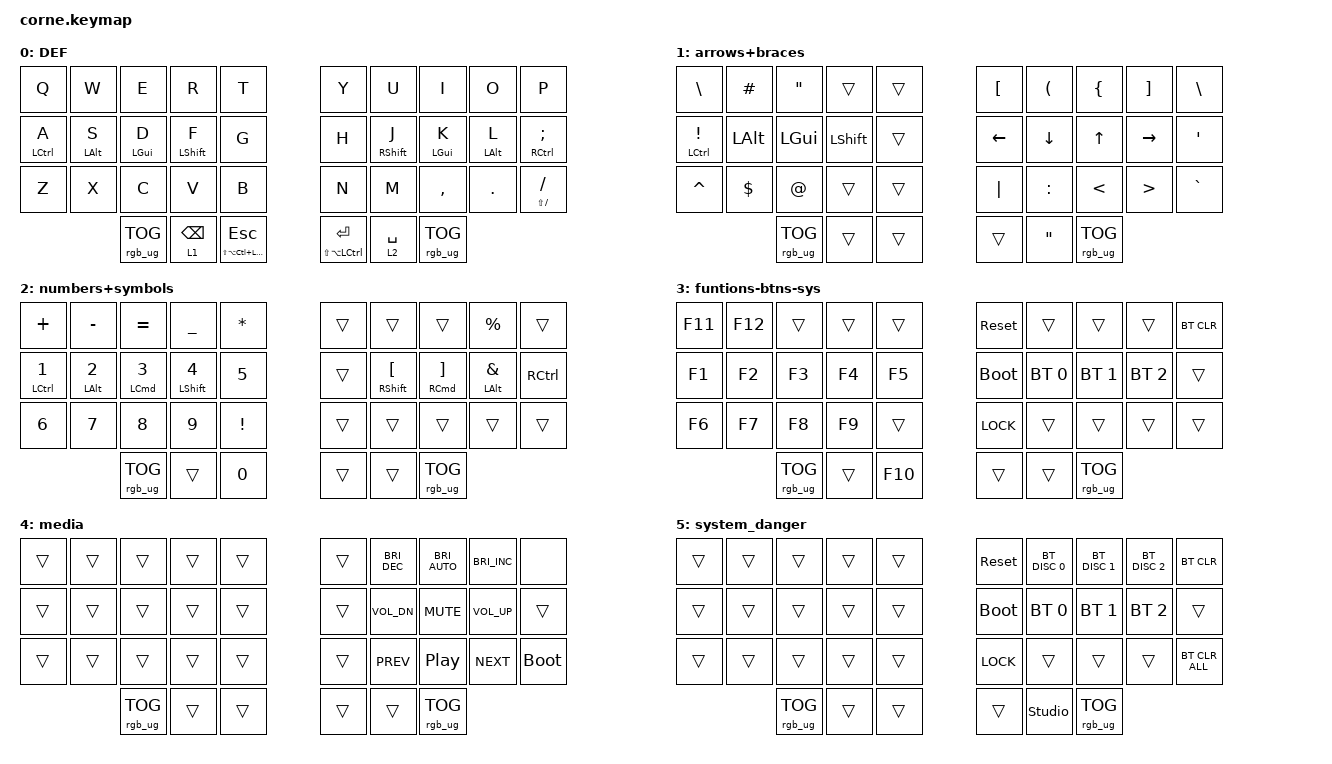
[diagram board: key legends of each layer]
/*
 * Copyright (c) 2020 The ZMK Contributors
 *
 * SPDX-License-Identifier: MIT
 */

#include <behaviors.dtsi>
#include <dt-bindings/zmk/bt.h>
#include <dt-bindings/zmk/keys.h>
#include <dt-bindings/zmk/rgb.h>

#define DEFAULT_L 0

&lt {
    quick-tap-ms = <200>;
    tapping-term-ms = <150>;
    flavor = "balanced";
};

&mt { quick-tap-ms = <200>; };

/ {
    chosen { zmk,matrix_transform = &five_column_transform; };

    behaviors {
        thumb_ht: thumb_hold_tap {
            compatible = "zmk,behavior-hold-tap";
            label = "HOMEROW_MODS";
            #binding-cells = <2>;
            tapping-term-ms = <150>;
            flavor = "balanced";
            bindings = <&kp>, <&kp>;

            quick-tap-ms = <180>;
        };

        hml: left_homerow_mods {
            compatible = "zmk,behavior-hold-tap";
            #binding-cells = <2>;
            flavor = "balanced";
            tapping-term-ms = <220>;
            quick-tap-ms = <175>;
            require-prior-idle-ms = <125>;
            bindings = <&kp>, <&kp>;

            hold-trigger-key-positions = <5 6 7 8 9 15 16 17 18 19 25 26 27 28 29 30 31 32 33>;
            hold-trigger-on-release;
        };

        hmr: right_homerow_mods {
            compatible = "zmk,behavior-hold-tap";
            #binding-cells = <2>;
            flavor = "balanced";
            tapping-term-ms = <220>;
            quick-tap-ms = <175>;
            require-prior-idle-ms = <125>;
            bindings = <&kp>, <&kp>;

            hold-trigger-key-positions = <0 1 2 3 4 10 11 12 13 14 20 21 22 23 24 30 31 32 33>;
            hold-trigger-on-release;
        };

        as: auto_shift {
            compatible = "zmk,behavior-hold-tap";
            label = "AUTO_SHIFT";
            bindings = <&kp>, <&kp>;

            #binding-cells = <2>;
            flavor = "tap-preferred";
            tapping-term-ms = <250>;
            require-prior-idle-ms = <100>;
        };
    };

    macros {
        thin_arrow: thin_arrow {
            compatible = "zmk,behavior-macro";
            #binding-cells = <0>;
            bindings = <&kp MINUS &kp GT>;
            label = "THIN_ARROW";
        };

        thick_arrow: thick_arrow {
            compatible = "zmk,behavior-macro";
            #binding-cells = <0>;
            bindings = <&kp EQUAL &kp GREATER_THAN>;
            label = "THICK_ARROW";
        };

        rs_lambda_macro: rs_lambda_macro {
            compatible = "zmk,behavior-macro";
            #binding-cells = <0>;
            bindings = <&kp PIPE &kp PIPE &kp LEFT>;
            label = "RS_LAMBDA_MACRO";
        };
    };

    combos {
        compatible = "zmk,combos";

        arr-right-paren {
            bindings = <&kp RIGHT_PARENTHESIS>;
            key-positions = <6 7>;
            layers = <1>;
        };

        arr-right-curly {
            bindings = <&kp RIGHT_BRACE>;
            key-positions = <7 8>;
            layers = <1>;
        };

        arr-right-square-bracket {
            bindings = <&kp RIGHT_BRACKET>;
            key-positions = <5 6>;
            layers = <1>;
        };

        def-mcommadot-to-fkeys+s+space {
            bindings = <&lt 3 LS(LA(LC(LG(SPACE))))>;
            key-positions = <27 26 28>;
            layers = <0>;
        };

        def-xcv-to-media+del {
            bindings = <&lt 4 DELETE>;
            key-positions = <21 22 23>;
            layers = <0>;
        };

        def-wer-to-system-danger+caps {
            bindings = <&lt 5 CAPSLOCK>;
            key-positions = <1 2 3>;
            layers = <0>;
        };

        num-thin-arr-combo {
            bindings = <&thin_arrow>;
            key-positions = <1 2>;
            layers = <2>;
        };

        num-thick-arrow-combo {
            bindings = <&thick_arrow>;
            key-positions = <2 3>;
            layers = <2>;
        };

        def-ui-to-tab {
            bindings = <&kp TAB>;
            key-positions = <6 7>;
            layers = <0>;
        };

        arr-rust-lambda {
            bindings = <&rs_lambda_macro>;
            key-positions = <25 26>;
            layers = <1>;
        };
    };

    keymap {
        compatible = "zmk,keymap";

        default_layer {
            label = "DEF";
            bindings = <
  &kp Q         &kp W            &kp E            &kp R              &kp T                                    &kp Y                                 &kp U               &kp I            &kp O            &kp P
  &hml LCTRL A  &hml LEFT_ALT S  &hml LEFT_GUI D  &hml LEFT_SHIFT F  &kp G                                    &kp H                                 &hmr RIGHT_SHIFT J  &hmr LEFT_GUI K  &hmr LEFT_ALT L  &hmr RIGHT_CONTROL SEMICOLON
  &kp Z         &kp X            &kp C            &kp V              &kp B                                    &kp N                                 &kp M               &kp COMMA        &kp DOT          &as LS(SLASH) SLASH
                                 &rgb_ug RGB_TOG  &lt 1 BACKSPACE    &thumb_ht LS(LA(LC(LEFT_GUI))) ESCAPE    &thumb_ht LS(LA(LEFT_CONTROL)) ENTER  &lt 2 SPACE         &rgb_ug RGB_TOG
            >;
        };

        arrows+braces {
            bindings = <
  &kp BACKSLASH           &kp HASH    &kp DOUBLE_QUOTES  &trans     &trans    &kp LEFT_BRACKET  &kp LEFT_PARENTHESIS  &kp LEFT_BRACE   &kp RIGHT_BRACKET  &kp BACKSLASH
  &hml LCTRL EXCLAMATION  &kp LALT    &kp LGUI           &kp LSHFT  &trans    &kp LEFT          &kp DOWN              &kp UP           &kp RIGHT          &kp APOSTROPHE
  &kp CARET               &kp DOLLAR  &kp AT             &trans     &trans    &kp PIPE          &kp COLON             &kp LESS_THAN    &kp GREATER_THAN   &kp GRAVE
                                      &rgb_ug RGB_TOG    &trans     &trans    &trans            &kp DOUBLE_QUOTES     &rgb_ug RGB_TOG
            >;
        };

        numbers+symbols {
            bindings = <
  &kp PLUS                    &kp MINUS               &kp EQUAL                   &kp UNDERSCORE            &kp STAR           &trans  &trans                         &trans                            &kp PERCENT              &trans
  &hml LEFT_CONTROL NUMBER_1  &hml LEFT_ALT NUMBER_2  &hml LEFT_COMMAND NUMBER_3  &hml LEFT_SHIFT NUMBER_4  &kp NUMBER_5       &trans  &hmr RIGHT_SHIFT LEFT_BRACKET  &hmr RIGHT_COMMAND RIGHT_BRACKET  &hmr LEFT_ALT AMPERSAND  &kp RIGHT_CONTROL
  &kp NUMBER_6                &kp NUMBER_7            &kp NUMBER_8                &kp NUMBER_9              &kp EXCLAMATION    &trans  &trans                         &trans                            &trans                   &trans
                                                      &rgb_ug RGB_TOG             &trans                    &kp NUMBER_0       &trans  &trans                         &rgb_ug RGB_TOG
            >;
        };

        funtions-btns-sys {
            bindings = <
  &kp F11  &kp F12  &trans           &trans  &trans     &sys_reset   &trans        &trans           &trans        &bt BT_CLR
  &kp F1   &kp F2   &kp F3           &kp F4  &kp F5     &bootloader  &bt BT_SEL 0  &bt BT_SEL 1     &bt BT_SEL 2  &trans
  &kp F6   &kp F7   &kp F8           &kp F9  &trans     &kp K_LOCK   &trans        &trans           &trans        &trans
                    &rgb_ug RGB_TOG  &trans  &kp F10    &trans       &trans        &rgb_ug RGB_TOG
            >;
        };

        media {
            bindings = <
  &trans  &trans  &trans           &trans  &trans    &trans  &kp C_BRIGHTNESS_DEC  &kp C_BRIGHTNESS_AUTO  &kp C_BRIGHTNESS_INC  &none
  &trans  &trans  &trans           &trans  &trans    &trans  &kp C_VOL_DN          &kp C_MUTE             &kp C_VOL_UP          &trans
  &trans  &trans  &trans           &trans  &trans    &trans  &kp C_PREV            &kp C_PLAY_PAUSE       &kp C_NEXT            &bootloader
                  &rgb_ug RGB_TOG  &trans  &trans    &trans  &trans                &rgb_ug RGB_TOG
            >;
        };

        system_danger {
            bindings = <
  &trans  &trans  &trans           &trans  &trans    &sys_reset   &bt BT_DISC 0   &bt BT_DISC 1    &bt BT_DISC 2  &bt BT_CLR
  &trans  &trans  &trans           &trans  &trans    &bootloader  &bt BT_SEL 0    &bt BT_SEL 1     &bt BT_SEL 2   &trans
  &trans  &trans  &trans           &trans  &trans    &kp K_LOCK   &trans          &trans           &trans         &bt BT_CLR_ALL
                  &rgb_ug RGB_TOG  &trans  &trans    &trans       &studio_unlock  &rgb_ug RGB_TOG
            >;
        };
    };
};
